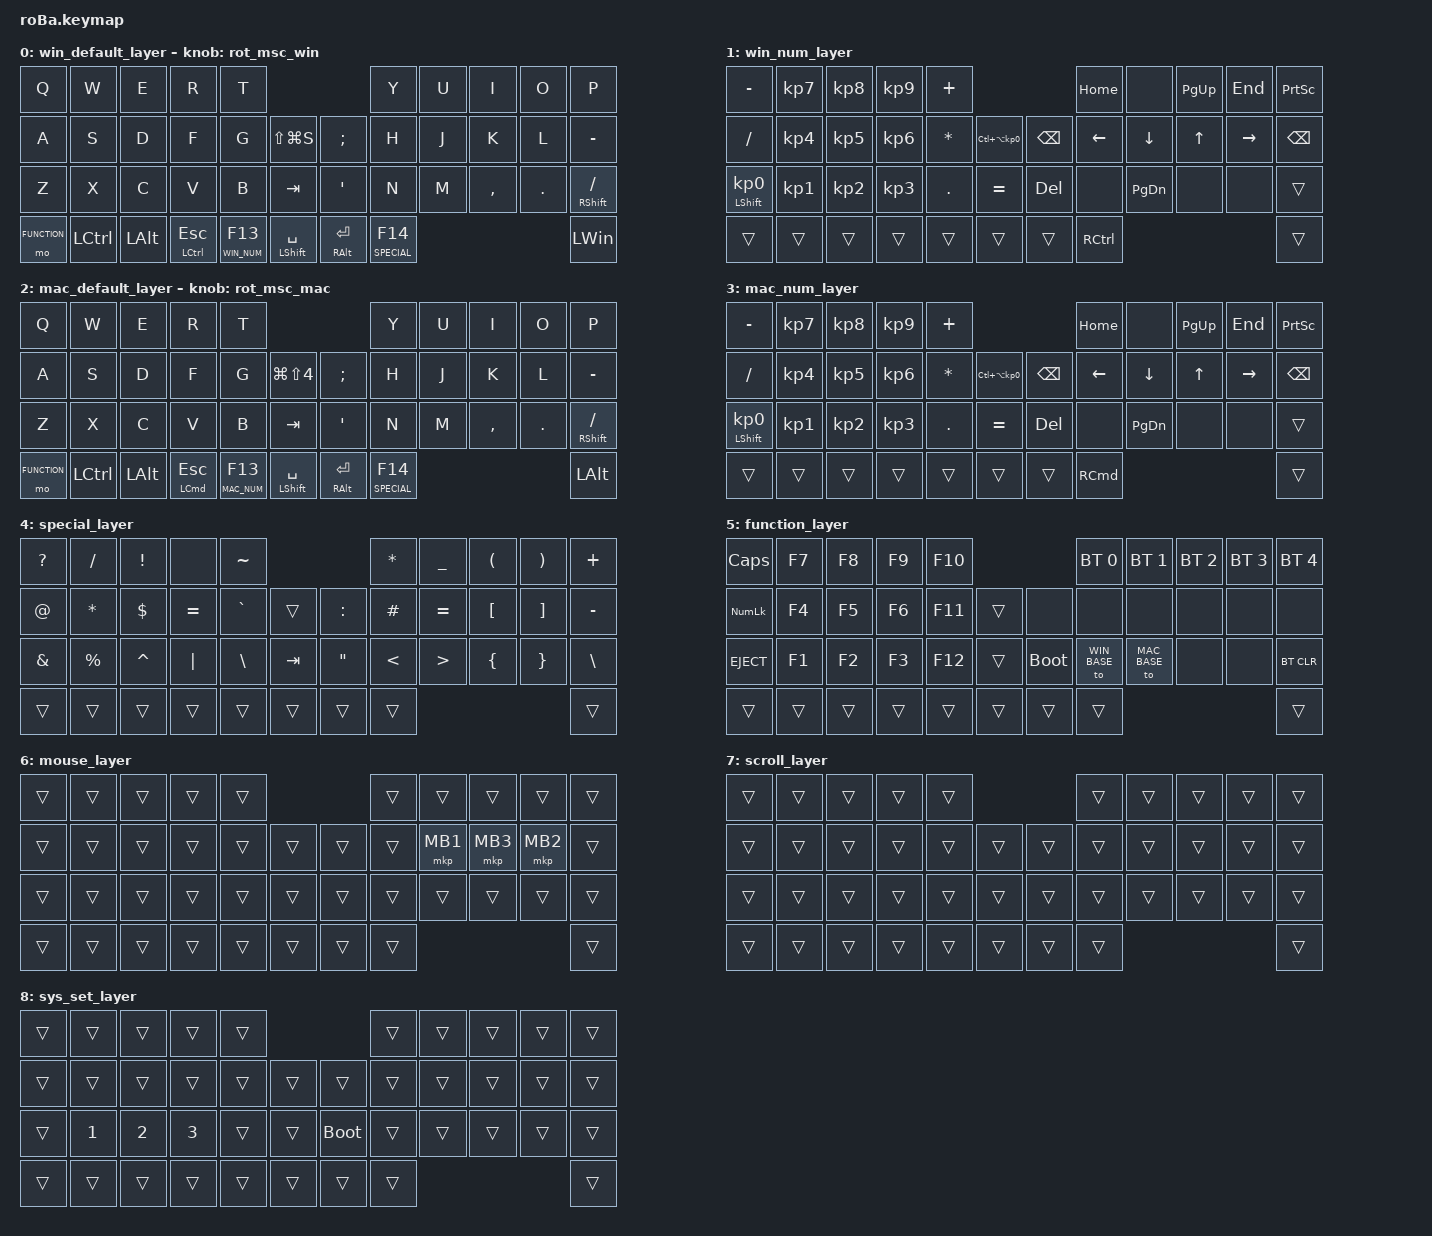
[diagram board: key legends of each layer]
#include <behaviors.dtsi>
#include <dt-bindings/zmk/bt.h>
#include <dt-bindings/zmk/keys.h>
#include <dt-bindings/zmk/pointing.h>
#include <input/processors.dtsi>

// --- スクロール量の定義 ---
#define ZMK_POINTING_DEFAULT_SCRL_VAL 80

// --- レイヤー名の定義 ---
#define WIN_BASE 0
#define WIN_NUM  1
#define MAC_BASE 2
#define MAC_NUM  3
#define SPECIAL  4
#define FUNCTION 5
#define MOUSE    6
#define SCROLL   7
#define SYS_SET  8

&mt {
    flavor = "balanced";
    quick-tap-ms = <0>;
    tapping-term-ms = <250>;
    require-prior-idle-ms = <150>; 
};

&trackball {
    scroll-layers = <SCROLL>;
};

/ {
    zip_temp_layer_threshold: zip_temp_layer_threshold {
        compatible = "zmk,input-processor-temp-layer-threshold";
        #input-processor-cells = <2>;
        threshold = <15>;
        excluded-positions = <18 19 20>; // J, K, L
    };

    trackball_listener {
        compatible = "zmk,input-listener";
        device = <&trackball>;
        input-processors = <&zip_temp_layer_threshold MOUSE 0>;
    };

    combos {
        compatible = "zmk,combos";
        tab { bindings = <&kp TAB>; key-positions = <11 12>; };
        shift_tab { bindings = <&kp LS(TAB)>; key-positions = <12 13>; };
        muhennkann { bindings = <&to_layer_0 INT_MUHENKAN>; key-positions = <11 10>; };
        double_quotation { bindings = <&kp DOUBLE_QUOTES>; key-positions = <20 21>; };
        eq { bindings = <&kp EQUAL>; key-positions = <24 25>; };
    };

    macros {
        to_layer_0: to_layer_0 {
            compatible = "zmk,behavior-macro-one-param";
            #binding-cells = <1>;
            bindings = <&to 0 &macro_param_1to1 &kp MACRO_PLACEHOLDER>;
            label = "TO_LAYER_0";
        };
    };

    behaviors {
        lt_to_layer_0: lt_to_layer_0 {
            compatible = "zmk,behavior-hold-tap";
            label = "LAYER_TAP_TO_0";
            bindings = <&mo>, <&to_layer_0>;
            #binding-cells = <2>;
            tapping-term-ms = <200>;
        };

        rot_msc_win: sensor_rotate_mouse_wheel_win {
            compatible = "zmk,behavior-sensor-rotate";
            #sensor-binding-cells = <0>;
            bindings = <&msc SCRL_DOWN>, <&msc SCRL_UP>;
            tap-ms = <20>;
        };

        rot_msc_mac: sensor_rotate_mouse_wheel_mac {
            compatible = "zmk,behavior-sensor-rotate";
            #sensor-binding-cells = <0>;
            bindings = <&msc SCRL_UP>, <&msc SCRL_DOWN>;
            tap-ms = <20>;
        };
    };

    keymap {
        compatible = "zmk,keymap";

        /* ==================== 0: Windows Base ==================== */
        win_default_layer {
            bindings = <
&kp Q        &kp W      &kp E         &kp R          &kp T                                                 &kp Y      &kp U  &kp I      &kp O    &kp P
&kp A        &kp S      &kp D         &kp F          &kp G      &kp LS(LG(S))         &kp SEMICOLON        &kp H      &kp J  &kp K      &kp L    &kp MINUS
&kp Z        &kp X      &kp C         &kp V          &kp B      &kp TAB               &kp SINGLE_QUOTE     &kp N      &kp M  &kp COMMA  &kp DOT  &mt RSHFT SLASH
&mo FUNCTION &kp LCTRL  &kp LEFT_ALT  &mt LCTRL ESC  &lt WIN_NUM F13 &mt LSHIFT SPACE &mt RIGHT_ALT ENTER  &lt SPECIAL F14                    &kp LEFT_WIN
>;
            sensor-bindings = <&rot_msc_win>;
        };

        /* ==================== 1: Windows NUM ==================== */
        win_num_layer {
            bindings = <
&kp MINUS                   &kp KP_NUMBER_7  &kp KP_NUMBER_8  &kp KP_NUMBER_9  &kp PLUS                                                  &kp HOME        &none           &kp PAGE_UP   &kp END          &kp PRINTSCREEN
&kp SLASH                   &kp KP_NUMBER_4  &kp KP_NUMBER_5  &kp KP_NUMBER_6  &kp ASTERISK  &kp LC(LA(KP_NUMBER_0))      &kp BACKSPACE  &kp LEFT_ARROW  &kp DOWN_ARROW  &kp UP_ARROW  &kp RIGHT_ARROW  &kp BACKSPACE
&mt LEFT_SHIFT KP_NUMBER_0  &kp KP_NUMBER_1  &kp KP_NUMBER_2  &kp KP_NUMBER_3  &kp PERIOD    &kp EQUAL                    &kp DEL        &none           &kp PAGE_DOWN   &none         &none            &trans
&trans                      &trans           &trans           &trans           &trans        &trans                       &trans         &kp RCTRL                                                      &trans
>;
        };

        /* ==================== 2: Mac Base ==================== */
        mac_default_layer {
            bindings = <
&kp Q        &kp W      &kp E         &kp R          &kp T                                                 &kp Y      &kp U  &kp I      &kp O    &kp P
&kp A        &kp S      &kp D         &kp F          &kp G      &kp LG(LS(NUMBER_4))  &kp SEMICOLON        &kp H      &kp J  &kp K      &kp L    &kp MINUS
&kp Z        &kp X      &kp C         &kp V          &kp B      &kp TAB               &kp SINGLE_QUOTE     &kp N      &kp M  &kp COMMA  &kp DOT  &mt RSHFT SLASH
&mo FUNCTION &kp LCTRL  &kp LEFT_ALT  &mt LCMD ESC   &lt MAC_NUM F13 &mt LSHIFT SPACE &mt RIGHT_ALT ENTER &lt SPECIAL F14                  &kp LEFT_ALT
>;
            sensor-bindings = <&rot_msc_mac>;
        };

        /* ==================== 3: Mac NUM ==================== */
        mac_num_layer {
            bindings = <
&kp MINUS                   &kp KP_NUMBER_7  &kp KP_NUMBER_8  &kp KP_NUMBER_9  &kp PLUS                                                  &kp HOME        &none           &kp PAGE_UP   &kp END          &kp PRINTSCREEN
&kp SLASH                   &kp KP_NUMBER_4  &kp KP_NUMBER_5  &kp KP_NUMBER_6  &kp ASTERISK  &kp LC(LA(KP_NUMBER_0))      &kp BACKSPACE  &kp LEFT_ARROW  &kp DOWN_ARROW  &kp UP_ARROW  &kp RIGHT_ARROW  &kp BACKSPACE
&mt LEFT_SHIFT KP_NUMBER_0  &kp KP_NUMBER_1  &kp KP_NUMBER_2  &kp KP_NUMBER_3  &kp PERIOD    &kp EQUAL                    &kp DEL        &none           &kp PAGE_DOWN   &none         &none            &trans
&trans                      &trans           &trans           &trans           &trans        &trans                       &trans         &kp RCMD                                                       &trans
>;
        };

        /* ==================== 4: SPECIAL ==================== */
        special_layer {
            bindings = <
&kp QUESTION  &kp SLASH  &kp EXCL   &none      &kp TILDE                                  &kp ASTERISK   &kp UNDER         &kp LPAR          &kp RPAR           &kp PLUS
&kp AT_SIGN   &kp ASTRK  &kp DLLR   &kp EQUAL  &kp GRAVE  &trans       &kp COLON          &kp HASH       &kp EQUAL         &kp LEFT_BRACKET  &kp RIGHT_BRACKET  &kp MINUS
&kp AMPS      &kp PRCNT  &kp CARET  &kp PIPE   &kp BSLH   &kp TAB      &kp DOUBLE_QUOTES  &kp LESS_THAN  &kp GREATER_THAN  &kp LEFT_BRACE    &kp RIGHT_BRACE    &kp BSLH
&trans        &trans     &trans     &trans     &trans     &trans       &trans             &trans                                                                &trans
>;
        };

        /* ==================== 5: FUNCTION ==================== */
        function_layer {
            bindings = <
&kp CAPSLOCK    &kp F7  &kp F8  &kp F9  &kp F10                           &bt BT_SEL 0   &bt BT_SEL 1  &bt BT_SEL 2  &bt BT_SEL 3  &bt BT_SEL 4
&kp KP_NUMLOCK  &kp F4  &kp F5  &kp F6  &kp F11  &trans      &none        &none          &none         &none         &none         &none
&kp K_EJECT     &kp F1  &kp F2  &kp F3  &kp F12  &trans      &bootloader  &to WIN_BASE   &to MAC_BASE  &none         &none         &bt BT_CLR
&trans          &trans  &trans  &trans  &trans   &trans      &trans       &trans                                                   &trans
>;
        };

        /* ==================== 6: MOUSE ==================== */
        mouse_layer {
            bindings = <
&trans  &trans  &trans  &trans  &trans                      &trans  &trans    &trans    &trans    &trans
&trans  &trans  &trans  &trans  &trans  &trans      &trans  &trans  &mkp MB1  &mkp MB3  &mkp MB2  &trans
&trans  &trans  &trans  &trans  &trans  &trans      &trans  &trans  &trans    &trans    &trans    &trans
&trans  &trans  &trans  &trans  &trans  &trans      &trans  &trans                                &trans
>;
        };

        /* ==================== 7: SCROLL ==================== */
        scroll_layer {
            bindings = <
&trans  &trans  &trans  &trans  &trans                      &trans  &trans  &trans  &trans  &trans
&trans  &trans  &trans  &trans  &trans  &trans      &trans  &trans  &trans  &trans  &trans  &trans
&trans  &trans  &trans  &trans  &trans  &trans      &trans  &trans  &trans  &trans  &trans  &trans
&trans  &trans  &trans  &trans  &trans  &trans      &trans  &trans                          &trans
>;
        };

        /* ==================== 8: SYS_SET ==================== */
        sys_set_layer {
            bindings = <
&trans  &trans        &trans        &trans        &trans                           &trans  &trans  &trans  &trans  &trans
&trans  &trans        &trans        &trans        &trans  &trans      &trans       &trans  &trans  &trans  &trans  &trans
&trans  &kp NUMBER_1  &kp NUMBER_2  &kp NUMBER_3  &trans  &trans      &bootloader  &trans  &trans  &trans  &trans  &trans
&trans  &trans        &trans        &trans        &trans  &trans      &trans       &trans                        &trans
>;
        };
    };
};
